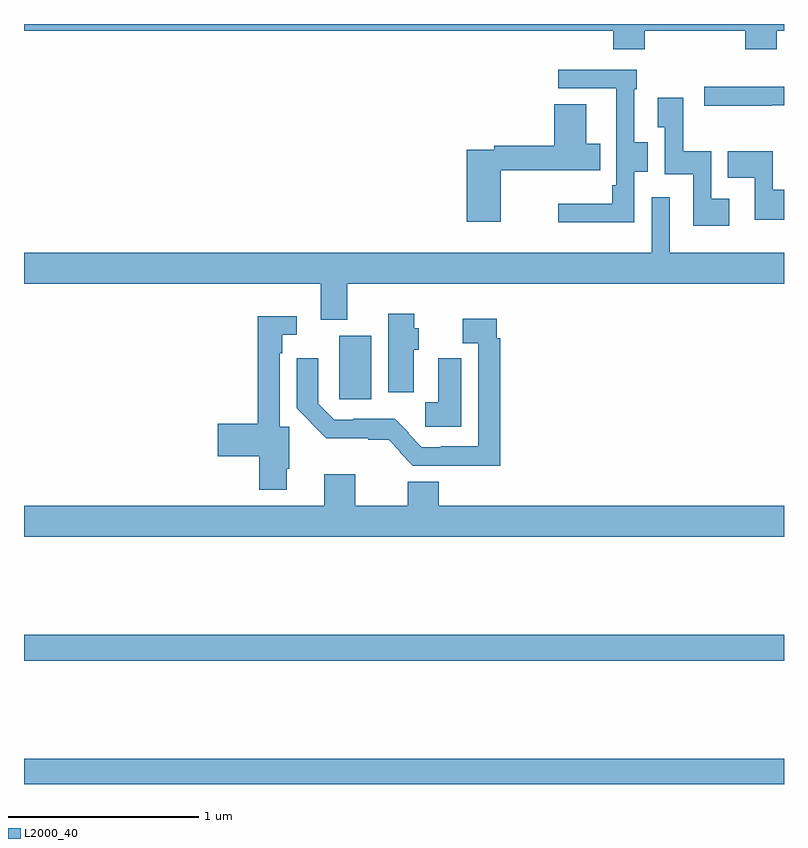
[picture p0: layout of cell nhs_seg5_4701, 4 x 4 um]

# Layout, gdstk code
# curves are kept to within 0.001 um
import gdstk
lib = gdstk.Library(unit=1e-6, precision=1e-09)
def R(c, l, rs):  # rectangles x0, y0, x1, y1
    for r in rs: c.add(gdstk.rectangle(r[:2], r[2:], *l))
def P(c, l, *ps):  # polygons
    for p in ps: c.add(gdstk.Polygon(p, *l))
L2000_40 = (2000, 40)

nhs_seg5_4701 = lib.new_cell('nhs_seg5_4701')
R(nhs_seg5_4701, L2000_40, [(387,848.799,391,848.932), (387,849.448,391,849.584), (388.658,850.824,388.828,851.158)])
P(nhs_seg5_4701, L2000_40, [(390.266,852.764),(390.797,852.764),(390.797,852.665),(390.962,852.665),(390.962,852.764),(391,852.764),(391,852.799),(387,852.799),(387,852.764),(390.101,852.764),(390.101,852.665),(390.266,852.665)],
  [(390.213,852.022),(390.283,852.022),(390.283,852.177),(390.213,852.177),(390.213,852.455),(390.226,852.455),(390.226,852.558),(389.811,852.558),(389.811,852.462),(390.116,852.462),(390.116,852.265),(390.117,852.265),(390.117,851.95),(390.097,851.95),(390.097,851.854),(389.811,851.854),(389.811,851.756),(390.213,851.756)],
  [(390.935,852.372),(391,852.372),(391,852.47),(390.579,852.47),(390.579,852.37),(390.935,852.37)],
  [(390.712,851.878),(390.618,851.878),(390.618,852.13),(390.471,852.13),(390.471,852.412),(390.335,852.412),(390.335,852.256),(390.372,852.256),(390.372,852.008),(390.522,852.008),(390.522,851.738),(390.712,851.738)],
  [(389.508,852.03),(389.708,852.03),(389.708,852.029),(390.032,852.029),(390.032,852.169),(389.959,852.169),(389.959,852.377),(389.792,852.377),(389.792,852.158),(389.476,852.158),(389.476,852.138),(389.33,852.138),(389.33,851.757),(389.508,851.757)],
  [(391,851.926),(390.942,851.926),(390.942,852.13),(390.703,852.13),(390.703,851.99),(390.845,851.99),(390.845,851.768),(391,851.768)],
  [(388.702,851.432),(391,851.432),(391,851.596),(390.399,851.596),(390.399,851.887),(390.303,851.887),(390.303,851.596),(387,851.596),(387,851.432),(388.562,851.432),(388.562,851.243),(388.702,851.243)],
  [(389.05,851.085),(389.077,851.085),(389.077,851.199),(389.053,851.199),(389.053,851.275),(388.916,851.275),(388.916,850.86),(389.05,850.86)],
  [(388.384,850.459),(388.397,850.459),(388.397,850.68),(388.347,850.68),(388.347,851.066),(388.359,851.066),(388.359,851.163),(388.435,851.163),(388.435,851.26),(388.231,851.26),(388.231,850.694),(388.02,850.694),(388.02,850.523),(388.238,850.523),(388.238,850.349),(388.384,850.349)],
  [(389.507,851.144),(389.487,851.144),(389.487,851.248),(389.308,851.248),(389.308,851.12),(389.391,851.12),(389.391,850.576),(389.194,850.576),(389.194,850.572),(389.094,850.572),(389.022,850.644),(389.025,850.647),(388.951,850.721),(388.732,850.721),(388.732,850.716),(388.632,850.716),(388.548,850.8),(388.548,851.041),(388.436,851.041),(388.436,850.776),(388.591,850.619),(388.811,850.619),(388.811,850.611),(388.919,850.611),(388.981,850.549),(388.977,850.545),(389.047,850.475),(389.507,850.475)],
  [(389.302,851.039),(389.18,851.039),(389.18,850.807),(389.112,850.807),(389.112,850.678),(389.302,850.678)],
  [(391,850.264),(389.182,850.264),(389.182,850.39),(389.021,850.39),(389.021,850.264),(388.744,850.264),(388.744,850.429),(388.58,850.429),(388.58,850.264),(387,850.264),(387,850.1),(391,850.1)])

lib.write_gds('nhs_seg5_4701.gds')
